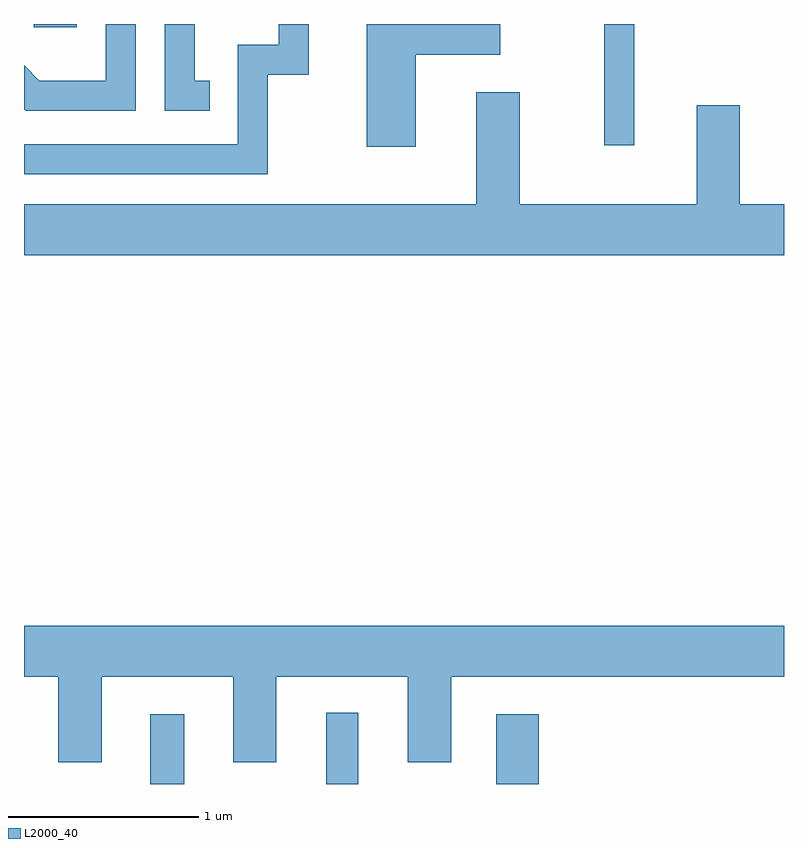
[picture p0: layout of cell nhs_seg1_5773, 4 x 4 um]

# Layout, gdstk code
import gdstk
lib = gdstk.Library(unit=1e-6, precision=1e-09)
def R(c, l, rs):  # rectangles x0, y0, x1, y1
    for r in rs: c.add(gdstk.rectangle(r[:2], r[2:], *l))
def P(c, l, *ps):  # polygons
    for p in ps: c.add(gdstk.Polygon(p, *l))
L2000_40 = (2000, 40)

nhs_seg1_5773 = lib.new_cell('nhs_seg1_5773')
R(nhs_seg1_5773, L2000_40, [(360.276,865.712,360.454,866.079), (361.201,865.712,361.369,866.088), (362.096,865.712,362.319,866.079), (362.666,869.073,362.824,869.712), (359.661,869.696,359.889,869.712)])
P(nhs_seg1_5773, L2000_40, [(361.674,869.551),(362.118,869.551),(362.118,869.712),(361.416,869.712),(361.416,869.066),(361.674,869.066)],
  [(360.588,869.414),(360.509,869.414),(360.509,869.712),(360.351,869.712),(360.351,869.256),(360.588,869.256)],
  [(360.894,869.446),(361.109,869.446),(361.109,869.712),(360.951,869.712),(360.951,869.604),(360.736,869.604),(360.736,869.079),(359.611,869.079),(359.611,868.921),(360.894,868.921)],
  [(360.199,869.712),(360.041,869.712),(360.041,869.414),(359.692,869.414),(359.611,869.495),(359.611,869.264),(359.619,869.256),(360.199,869.256)],
  [(361.991,869.354),(361.991,868.764),(359.611,868.764),(359.611,868.496),(363.611,868.496),(363.611,868.764),(363.379,868.764),(363.379,869.284),(363.151,869.284),(363.151,868.764),(362.219,868.764),(362.219,869.354)],
  [(360.019,866.276),(360.711,866.276),(360.711,865.826),(360.939,865.826),(360.939,866.276),(361.631,866.276),(361.631,865.826),(361.859,865.826),(361.859,866.276),(363.611,866.276),(363.611,866.544),(359.611,866.544),(359.611,866.276),(359.791,866.276),(359.791,865.826),(360.019,865.826)])

lib.write_gds('nhs_seg1_5773.gds')
